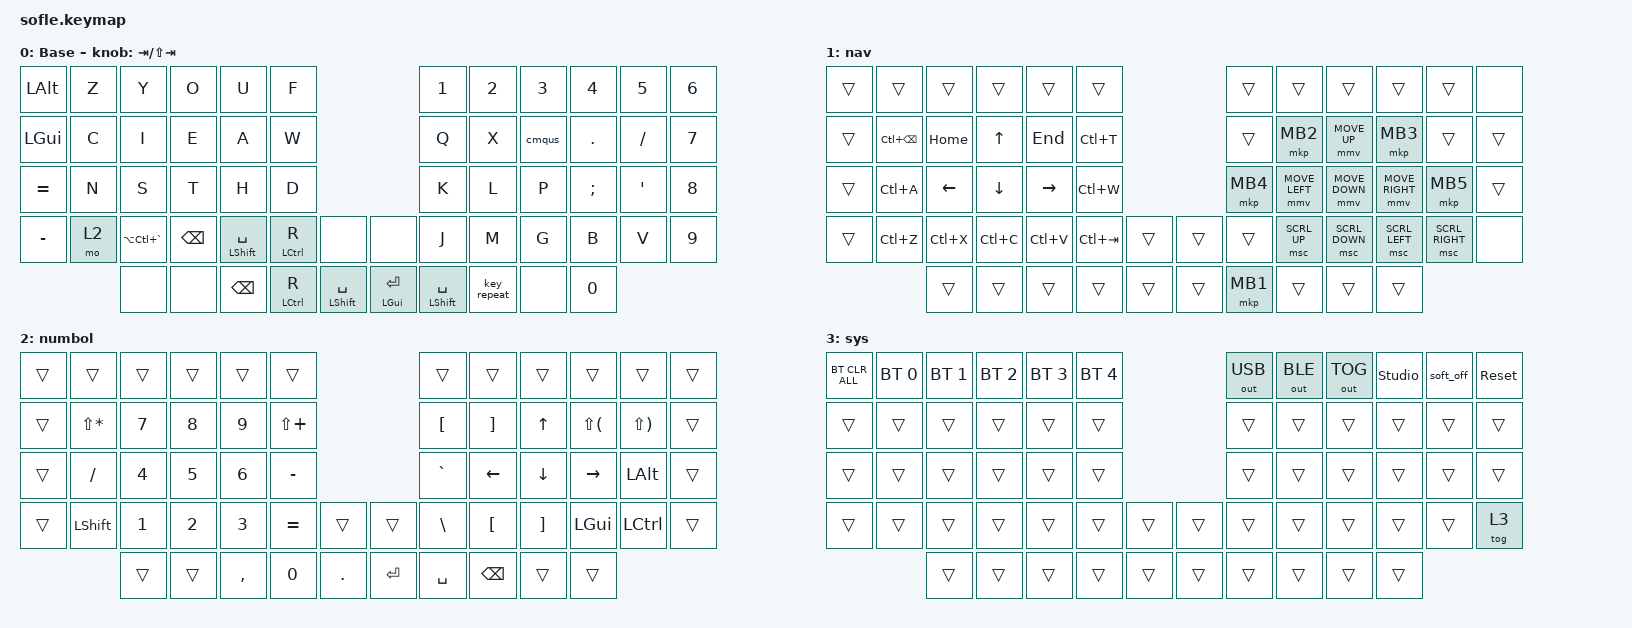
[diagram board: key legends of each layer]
#include <zephyr/dt-bindings/input/input-event-codes.h>
#include <behaviors.dtsi>
#include <dt-bindings/zmk/bt.h>
#include <dt-bindings/zmk/keys.h>
#include <dt-bindings/zmk/outputs.h>
#include <dt-bindings/zmk/pointing.h>

#define ZMK_POINTING_DEFAULT_MOVE_VAL 2000
#define ZMK_POINTING_DEFAULT_SCRL_VAL 30

&sensors { triggers-per-rotation = <30>; };

&left_encoder { steps = <60>; };

&right_encoder { steps = <60>; };

&mt {
    flavor = "balanced";
    quick-tap-ms = <175>;
    require-prior-idle-ms = <150>;
    tapping-term-ms = <200>;
};

&sl {
    ignore-modifiers;
    release-after-ms = <2000>;
};

/ {
    behaviors {
        caps: caps {
            compatible = "zmk,behavior-caps-word";
            label = "CAPS";
            #binding-cells = <0>;
            continue-list = <>;
        };

        cmqus: cmqus {
            compatible = "zmk,behavior-mod-morph";
            label = "CMQUS";
            bindings = <&none>, <&kp QUESTION>;

            #binding-cells = <0>;
            mods = <(MOD_LSFT)>;
        };
    };

    conditional_layers { compatible = "zmk,conditional-layers"; };

    macros {
        paren: paren {
            compatible = "zmk,behavior-macro";
            #binding-cells = <0>;
            bindings = <&kp LEFT_PARENTHESIS &kp RIGHT_PARENTHESIS &kp LEFT_ARROW>;
            label = "PAREN";
        };

        brack: brack {
            compatible = "zmk,behavior-macro";
            #binding-cells = <0>;
            bindings = <&kp LEFT_BRACKET &kp RIGHT_BRACKET &kp LEFT_ARROW>;
            label = "BRACK";
        };
    };

    combos {
        compatible = "zmk,combos";

        combo_esc {
            timeout-ms = <40>;
            require-prior-idle-ms = <200>;
            key-positions = <13 14>;
            bindings = <&kp ESCAPE>;
        };

        combo_tab {
            timeout-ms = <40>;
            require-prior-idle-ms = <200>;
            key-positions = <14 15>;
            bindings = <&kp TAB>;
        };

        navtoggle {
            bindings = <&tog 1>;
            key-positions = <3 14 16>;
            layers = <1 0>;
        };

        enter {
            bindings = <&kp RET>;
            key-positions = <15 16>;
        };

        close_win {
            bindings = <&kp LA(F4)>;
            key-positions = <0 1>;
        };

        quit {
            bindings = <&kp LG(Q)>;
            key-positions = <0 1 2>;
        };

        SK_LSft {
            bindings = <&sk LSHFT>;
            key-positions = <27 28>;
        };

        SK_LGui {
            bindings = <&sk LGUI>;
            key-positions = <26 27>;
        };

        SK_LCtrl {
            bindings = <&sk LCTRL>;
            key-positions = <26 25>;
        };

        SK_LAlt {
            bindings = <&sk LALT>;
            key-positions = <26 25 27>;
        };

        combo_bspc {
            bindings = <&kp BACKSPACE>;
            key-positions = <41 15>;
        };

        combo_spc {
            bindings = <&kp SPACE>;
            key-positions = <41 16>;
        };

        q {
            bindings = <&kp Q>;
            key-positions = <41 13>;
        };

        z {
            bindings = <&kt Z>;
            key-positions = <41 14>;
        };

        comma {
            bindings = <&kp COMMA>;
            key-positions = <41 39>;
        };

        dot {
            bindings = <&kp PERIOD>;
            key-positions = <41 38>;
        };

        slash {
            bindings = <&kp SLASH>;
            key-positions = <41 37>;
        };

        semicolon {
            bindings = <&kp SEMICOLON>;
            key-positions = <41 26>;
        };

        apos {
            bindings = <&kp SQT>;
            key-positions = <25 41>;
        };

        numbol {
            bindings = <&tog 2>;
            key-positions = <5 4 17 16>;
        };

        sys {
            bindings = <&tog 3>;
            key-positions = <17 16 29 28>;
        };
    };

    /*
     * Keymap layers
     */

    keymap {
        compatible = "zmk,keymap";

        default_layer {
            display-name = "Base";
            bindings = <
&kp LALT   &kp Z  &kp Y              &kp O          &kp U            &kp F                                           &kp N1           &kp N2       &kp N3  &kp N4    &kp N5    &kp N6
&kp LGUI   &kp C  &kp I              &kp E          &kp A            &kp W                                           &kp Q            &kp X        &cmqus  &kp DOT   &kp FSLH  &kp N7
&kp EQUAL  &kp N  &kp S              &kp T          &kp H            &kp D                                           &kp K            &kp L        &kp P   &kp SEMI  &kp SQT   &kp N8
&kp MINUS  &mo 2  &kp LA(LC(GRAVE))  &kp BACKSPACE  &mt LSHFT SPACE  &mt LCTRL R  &none              &none           &kp J            &kp M        &kp G   &kp B     &kp V     &kp N9
                  &none              &none          &kp BSPC         &mt LCTRL R  &mt LSHFT SPACE    &mt LGUI ENTER  &mt LSHFT SPACE  &key_repeat  &none   &kp N0
            >;

            sensor-bindings = <&inc_dec_kp TAB LS(TAB)>;
        };

        nav {
            display-name = "nav";
            bindings = <
&trans  &trans             &trans     &trans     &trans     &trans                         &trans    &trans          &trans          &trans           &trans           &none
&trans  &kp LC(BACKSPACE)  &kp HOME   &kp UP     &kp END    &kp LC(T)                      &trans    &mkp MB2        &mmv MOVE_UP    &mkp MB3         &trans           &trans
&trans  &kp LC(A)          &kp LEFT   &kp DOWN   &kp RIGHT  &kp LC(W)                      &mkp MB4  &mmv MOVE_LEFT  &mmv MOVE_DOWN  &mmv MOVE_RIGHT  &mkp MB5         &trans
&trans  &kp LC(Z)          &kp LC(X)  &kp LC(C)  &kp LC(V)  &kp LC(TAB)  &trans    &trans  &trans    &msc SCRL_UP    &msc SCRL_DOWN  &msc SCRL_LEFT   &msc SCRL_RIGHT  &none
                           &trans     &trans     &trans     &trans       &trans    &trans  &mkp MB1  &trans          &trans          &trans
            >;
        };

        numbol {
            bindings = <
&trans  &trans        &trans  &trans  &trans     &trans                            &trans     &trans    &trans    &trans        &trans        &trans
&trans  &kp LS(STAR)  &kp N7  &kp N8  &kp N9     &kp LS(PLUS)                      &kp LBKT   &kp RBKT  &kp UP    &kp LS(LPAR)  &kp LS(RPAR)  &trans
&trans  &kp FSLH      &kp N4  &kp N5  &kp N6     &kp MINUS                         &kp GRAVE  &kp LEFT  &kp DOWN  &kp RIGHT     &kp LALT      &trans
&trans  &kp LSHFT     &kp N1  &kp N2  &kp N3     &kp EQUAL     &trans     &trans   &kp BSLH   &kp LBKT  &kp RBKT  &kp LGUI      &kp LCTRL     &trans
                      &trans  &trans  &kp COMMA  &kp N0        &kp DOT    &kp RET  &kp SPACE  &kp BSPC  &trans    &trans
            >;
        };

        sys {
            display-name = "sys";
            bindings = <
&bt BT_CLR_ALL  &bt BT_SEL 0  &bt BT_SEL 1  &bt BT_SEL 2  &bt BT_SEL 3  &bt BT_SEL 4                    &out OUT_USB  &out OUT_BLE  &out OUT_TOG  &studio_unlock  &soft_off  &sys_reset
&trans          &trans        &trans        &trans        &trans        &trans                          &trans        &trans        &trans        &trans          &trans     &trans
&trans          &trans        &trans        &trans        &trans        &trans                          &trans        &trans        &trans        &trans          &trans     &trans
&trans          &trans        &trans        &trans        &trans        &trans        &trans    &trans  &trans        &trans        &trans        &trans          &trans     &tog 3
                              &trans        &trans        &trans        &trans        &trans    &trans  &trans        &trans        &trans        &trans
            >;
        };
    };
};
